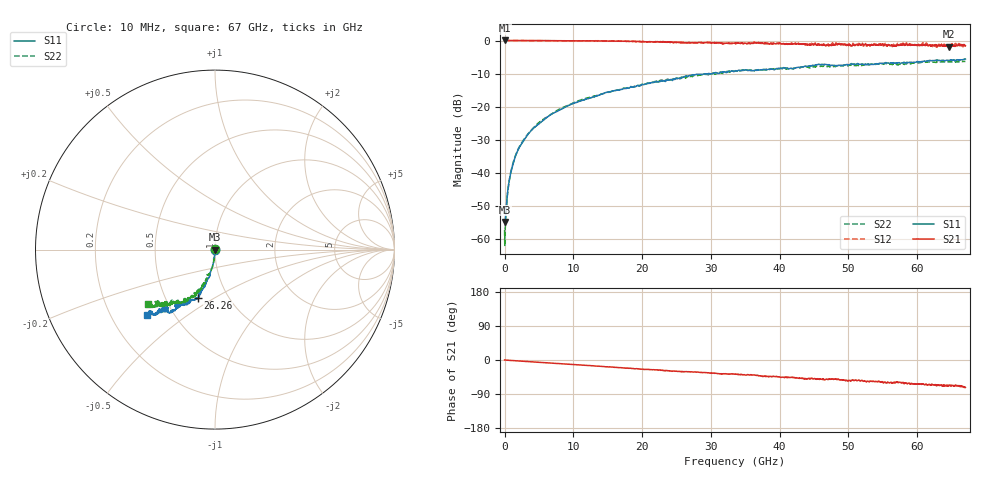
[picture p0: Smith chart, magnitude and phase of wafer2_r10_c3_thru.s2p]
!Keysight Technologies,N5227A,US51270248,A.10.65.08
!Date: Tuesday, June 11, 2024 06:04:39
!Correction: S11(Full 2 Port(1,4))
!S41(Full 2 Port(1,4))
!S14(Full 2 Port(1,4))
!S44(Full 2 Port(1,4))
!S2P File: Measurements: S11, S41, S14, S44:
# Hz S  dB  R 50
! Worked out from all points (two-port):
!   3201 points, 10 MHz to 67 GHz, reference 50 ohm
!   highest |S21| = 0.02 dB at 10 MHz (marker M1); lowest = -1.8 dB at 64.57 GHz (marker M2)
!   |S21| within 3 dB of the highest: start of sweep to end of sweep
!   lowest |S11| = -54.9 dB at 10 MHz (marker M3), VSWR 1.00, Z = 49.8 - j0.0198 ohm
!   |S11| at or under -10 dB: start of sweep to 29.62 GHz; 29.77 GHz to 30.18 GHz (406.5 MHz wide, 1.36 % of centre)
!   |S22| runs from -62.2 to -6.3 dB; largest |S21 - S12| = 0.086
!   S11 on the Smith chart (normalised r, x): 10 MHz: 1.00, -0.00; 26.26 GHz: 0.72, -0.42; 67 GHz: 0.36, -0.36
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1e7  -54.88 -173.7  0.02 -0.0  0.01 -0.0  -57.29 153.5
5.961625e8  -43.59 -101.8  0.01 -0.8  0.01 -0.8  -43.39 -96.1
9.101781e8  -40.03 -98.7  0.01 -1.2  0.00 -1.2  -39.77 -94.9
1.601012e9  -34.89 -94.7  0.00 -2.0  -0.00 -2.0  -34.69 -92.3
2.417453e9  -31.38 -95.0  -0.01 -3.0  -0.01 -3.0  -31.13 -93.1
3.987531e9  -26.97 -94.4  -0.03 -4.9  -0.03 -4.9  -26.88 -95.1
6.457788e9  -22.79 -96.8  -0.03 -7.8  -0.05 -7.8  -22.73 -96.6
1.118896e10  -18.17 -101.3  -0.09 -13.2  -0.13 -13.3  -17.86 -101.9
2.234698e10  -12.52 -108.3  -0.43 -26.5  -0.40 -26.2  -12.52 -111.0
2.626171e10  -10.84 -109.6  -0.68 -30.7  -0.57 -30.6  -11.25 -116.9
3.3505e10  -9.22 -118.9  -0.81 -37.4  -0.88 -37.7  -9.29 -121.9
4.468396e10  -7.56 -124.3  -1.16 -48.9  -0.84 -48.4  -7.82 -129.6
5.460685e10  -6.90 -131.0  -1.08 -57.6  -1.43 -56.4  -6.96 -136.6
5.584198e10  -6.78 -132.4  -1.33 -59.0  -1.44 -59.6  -7.20 -137.5
5.730738e10  -6.70 -132.2  -1.51 -59.2  -1.27 -60.0  -7.26 -135.8
6.111744e10  -6.19 -132.9  -1.50 -65.0  -1.29 -63.4  -6.57 -138.0
6.205949e10  -6.11 -134.0  -1.65 -65.7  -1.39 -67.3  -6.56 -139.1
6.264565e10  -6.00 -134.1  -1.31 -65.0  -1.59 -66.6  -6.56 -139.1
6.375517e10  -5.96 -135.6  -1.41 -68.0  -1.19 -68.4  -6.44 -140.0
6.457161e10  -6.01 -135.3  -1.85 -67.4  -1.66 -68.2  -6.42 -140.4
6.584861e10  -5.83 -135.9  -1.47 -68.4  -1.39 -68.7  -6.40 -140.9
6.7e10  -5.61 -135.8  -1.58 -72.2  -1.85 -73.4  -6.31 -141.0
